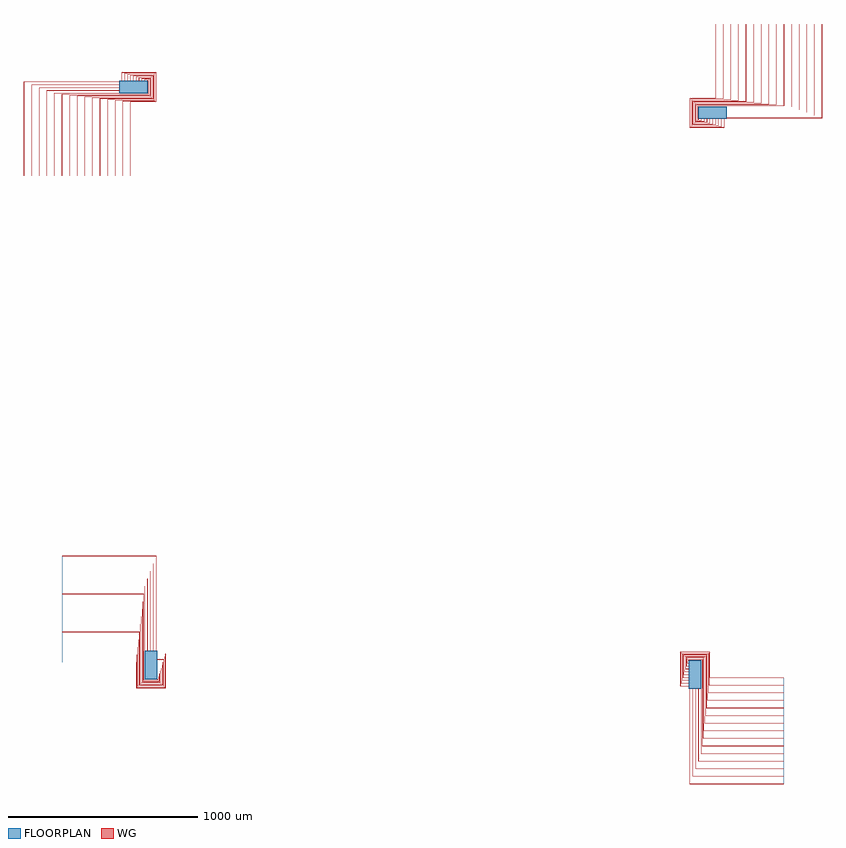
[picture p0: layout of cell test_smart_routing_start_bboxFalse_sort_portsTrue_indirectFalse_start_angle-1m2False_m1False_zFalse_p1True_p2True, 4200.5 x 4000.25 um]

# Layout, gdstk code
import gdstk
lib = gdstk.Library(unit=1e-6, precision=1e-09)
def R(c, l, rs):  # rectangles x0, y0, x1, y1
    for r in rs: c.add(gdstk.rectangle(r[:2], r[2:], *l))
def P(c, l, *ps):  # polygons
    for p in ps: c.add(gdstk.Polygon(p, *l))
WG = (1, 0)
FLOORPLAN = (10, 0)

test_smart_routing_start = lib.new_cell('test_smart_routing_start_bboxFalse_sort_portsTrue_indirectFalse_start_angle-1m2False_m1False_zFalse_p1True_p2True')
P(test_smart_routing_start, WG, [(3100,2905.05),(3100,2905.25),(3599.75,2905.25),(3599.75,3400),(3599.95,3400),(3599.95,2905.05)],
  [(3100,2904.75),(3100,2904.95),(3600.05,2904.95),(3600.05,3400),(3600.25,3400),(3600.25,2904.75)],
  [(3100,2920.05),(3100,2920.25),(3559.75,2920.25),(3559.75,3400),(3559.95,3400),(3559.95,2920.05)],
  [(3100,2919.75),(3100,2919.95),(3560.05,2919.95),(3560.05,3400),(3560.25,3400),(3560.25,2919.75)],
  [(3100,2935.05),(3100,2935.25),(3519.75,2935.25),(3519.75,3400),(3519.95,3400),(3519.95,2935.05)],
  [(3100,2934.75),(3100,2934.95),(3520.05,2934.95),(3520.05,3400),(3520.25,3400),(3520.25,2934.75)],
  [(3100,2950.05),(3100,2950.25),(3479.75,2950.25),(3479.75,3400),(3479.95,3400),(3479.95,2950.05)],
  [(3100,2949.75),(3100,2949.95),(3480.05,2949.95),(3480.05,3400),(3480.25,3400),(3480.25,2949.75)],
  [(3100,2965.05),(3100,2965.25),(3439.75,2965.25),(3439.75,3400),(3439.95,3400),(3439.95,2965.05)],
  [(3100,2964.75),(3100,2964.95),(3440.05,2964.95),(3440.05,3400),(3440.25,3400),(3440.25,2964.75)],
  [(2945.25,2895.5),(2945.25,2969.75),(3399.75,2969.75),(3399.75,3400),(3399.95,3400),(3399.95,2969.55),(2945.45,2969.55),(2945.45,2895.7),(2950.05,2895.7),(2950.05,2900),(2950.25,2900),(2950.25,2895.5)],
  [(2945.55,2895.8),(2945.55,2969.45),(3400.05,2969.45),(3400.05,3400),(3400.25,3400),(3400.25,2969.25),(2945.75,2969.25),(2945.75,2896),(2949.75,2896),(2949.75,2900),(2949.95,2900),(2949.95,2895.8)],
  [(2940.75,2891),(2940.75,2974.25),(3359.75,2974.25),(3359.75,3400),(3359.95,3400),(3359.95,2974.05),(2940.95,2974.05),(2940.95,2891.2),(2965.05,2891.2),(2965.05,2900),(2965.25,2900),(2965.25,2891)],
  [(2941.05,2891.3),(2941.05,2973.95),(3360.05,2973.95),(3360.05,3400),(3360.25,3400),(3360.25,2973.75),(2941.25,2973.75),(2941.25,2891.5),(2964.75,2891.5),(2964.75,2900),(2964.95,2900),(2964.95,2891.3)],
  [(2936.25,2886.5),(2936.25,2978.75),(3319.75,2978.75),(3319.75,3400),(3319.95,3400),(3319.95,2978.55),(2936.45,2978.55),(2936.45,2886.7),(2980.05,2886.7),(2980.05,2900),(2980.25,2900),(2980.25,2886.5)],
  [(2936.55,2886.8),(2936.55,2978.45),(3320.05,2978.45),(3320.05,3400),(3320.25,3400),(3320.25,2978.25),(2936.75,2978.25),(2936.75,2887),(2979.75,2887),(2979.75,2900),(2979.95,2900),(2979.95,2886.8)],
  [(2931.75,2882),(2931.75,2983.25),(3279.75,2983.25),(3279.75,3400),(3279.95,3400),(3279.95,2983.05),(2931.95,2983.05),(2931.95,2882.2),(2995.05,2882.2),(2995.05,2900),(2995.25,2900),(2995.25,2882)],
  [(2932.05,2882.3),(2932.05,2982.95),(3280.05,2982.95),(3280.05,3400),(3280.25,3400),(3280.25,2982.75),(2932.25,2982.75),(2932.25,2882.5),(2994.75,2882.5),(2994.75,2900),(2994.95,2900),(2994.95,2882.3)],
  [(2927.25,2877.5),(2927.25,2987.75),(3239.75,2987.75),(3239.75,3400),(3239.95,3400),(3239.95,2987.55),(2927.45,2987.55),(2927.45,2877.7),(3010.05,2877.7),(3010.05,2900),(3010.25,2900),(3010.25,2877.5)],
  [(2927.55,2877.8),(2927.55,2987.45),(3240.05,2987.45),(3240.05,3400),(3240.25,3400),(3240.25,2987.25),(2927.75,2987.25),(2927.75,2878),(3009.75,2878),(3009.75,2900),(3009.95,2900),(3009.95,2877.8)],
  [(2922.75,2873),(2922.75,2992.25),(3199.75,2992.25),(3199.75,3400),(3199.95,3400),(3199.95,2992.05),(2922.95,2992.05),(2922.95,2873.2),(3025.05,2873.2),(3025.05,2900),(3025.25,2900),(3025.25,2873)],
  [(2923.05,2873.3),(2923.05,2991.95),(3200.05,2991.95),(3200.05,3400),(3200.25,3400),(3200.25,2991.75),(2923.25,2991.75),(2923.25,2873.5),(3024.75,2873.5),(3024.75,2900),(3024.95,2900),(3024.95,2873.3)],
  [(2918.25,2868.5),(2918.25,2996.75),(3159.75,2996.75),(3159.75,3400),(3159.95,3400),(3159.95,2996.55),(2918.45,2996.55),(2918.45,2868.7),(3040.05,2868.7),(3040.05,2900),(3040.25,2900),(3040.25,2868.5)],
  [(2918.55,2868.8),(2918.55,2996.45),(3160.05,2996.45),(3160.05,3400),(3160.25,3400),(3160.25,2996.25),(2918.75,2996.25),(2918.75,2869),(3039.75,2869),(3039.75,2900),(3039.95,2900),(3039.95,2868.8)],
  [(2913.75,2864),(2913.75,3001.25),(3119.75,3001.25),(3119.75,3400),(3119.95,3400),(3119.95,3001.05),(2913.95,3001.05),(2913.95,2864.2),(3055.05,2864.2),(3055.05,2900),(3055.25,2900),(3055.25,2864)],
  [(2914.05,2864.3),(2914.05,3000.95),(3120.05,3000.95),(3120.05,3400),(3120.25,3400),(3120.25,3000.75),(2914.25,3000.75),(2914.25,2864.5),(3054.75,2864.5),(3054.75,2900),(3054.95,2900),(3054.95,2864.3)],
  [(2909.25,2859.5),(2909.25,3005.75),(3079.75,3005.75),(3079.75,3400),(3079.95,3400),(3079.95,3005.55),(2909.45,3005.55),(2909.45,2859.7),(3070.05,2859.7),(3070.05,2900),(3070.25,2900),(3070.25,2859.5)],
  [(2909.55,2859.8),(2909.55,3005.45),(3080.05,3005.45),(3080.05,3400),(3080.25,3400),(3080.25,3005.25),(2909.75,3005.25),(2909.75,2860),(3069.75,2860),(3069.75,2900),(3069.95,2900),(3069.95,2859.8)],
  [(2904.75,2855),(2904.75,3010.25),(3039.75,3010.25),(3039.75,3400),(3039.95,3400),(3039.95,3010.05),(2904.95,3010.05),(2904.95,2855.2),(3085.05,2855.2),(3085.05,2900),(3085.25,2900),(3085.25,2855)],
  [(2905.05,2855.3),(2905.05,3009.95),(3040.05,3009.95),(3040.05,3400),(3040.25,3400),(3040.25,3009.75),(2905.25,3009.75),(2905.25,2855.5),(3084.75,2855.5),(3084.75,2900),(3084.95,2900),(3084.95,2855.3)],
  [(-599.95,2600),(-599.95,3094.95),(-100,3094.95),(-100,3094.75),(-599.75,3094.75),(-599.75,2600)],
  [(-600.25,2600),(-600.25,3095.25),(-100,3095.25),(-100,3095.05),(-600.05,3095.05),(-600.05,2600)],
  [(-559.95,2600),(-559.95,3079.95),(-100,3079.95),(-100,3079.75),(-559.75,3079.75),(-559.75,2600)],
  [(-560.25,2600),(-560.25,3080.25),(-100,3080.25),(-100,3080.05),(-560.05,3080.05),(-560.05,2600)],
  [(-519.95,2600),(-519.95,3064.95),(-100,3064.95),(-100,3064.75),(-519.75,3064.75),(-519.75,2600)],
  [(-520.25,2600),(-520.25,3065.25),(-100,3065.25),(-100,3065.05),(-520.05,3065.05),(-520.05,2600)],
  [(-479.95,2600),(-479.95,3049.95),(-100,3049.95),(-100,3049.75),(-479.75,3049.75),(-479.75,2600)],
  [(-480.25,2600),(-480.25,3050.25),(-100,3050.25),(-100,3050.05),(-480.05,3050.05),(-480.05,2600)],
  [(-439.95,2600),(-439.95,3034.95),(-100,3034.95),(-100,3034.75),(-439.75,3034.75),(-439.75,2600)],
  [(-440.25,2600),(-440.25,3035.25),(-100,3035.25),(-100,3035.05),(-440.05,3035.05),(-440.05,2600)],
  [(-400.25,2600),(-400.25,3030.75),(54.25,3030.75),(54.25,3104),(50.25,3104),(50.25,3100),(50.05,3100),(50.05,3104.2),(54.45,3104.2),(54.45,3030.55),(-400.05,3030.55),(-400.05,2600)],
  [(-399.95,2600),(-399.95,3030.45),(54.55,3030.45),(54.55,3104.3),(49.95,3104.3),(49.95,3100),(49.75,3100),(49.75,3104.5),(54.75,3104.5),(54.75,3030.25),(-399.75,3030.25),(-399.75,2600)],
  [(-360.25,2600),(-360.25,3026.25),(58.75,3026.25),(58.75,3108.5),(35.25,3108.5),(35.25,3100),(35.05,3100),(35.05,3108.7),(58.95,3108.7),(58.95,3026.05),(-360.05,3026.05),(-360.05,2600)],
  [(-359.95,2600),(-359.95,3025.95),(59.05,3025.95),(59.05,3108.8),(34.95,3108.8),(34.95,3100),(34.75,3100),(34.75,3109),(59.25,3109),(59.25,3025.75),(-359.75,3025.75),(-359.75,2600)],
  [(-320.25,2600),(-320.25,3021.75),(63.25,3021.75),(63.25,3113),(20.25,3113),(20.25,3100),(20.05,3100),(20.05,3113.2),(63.45,3113.2),(63.45,3021.55),(-320.05,3021.55),(-320.05,2600)],
  [(-319.95,2600),(-319.95,3021.45),(63.55,3021.45),(63.55,3113.3),(19.95,3113.3),(19.95,3100),(19.75,3100),(19.75,3113.5),(63.75,3113.5),(63.75,3021.25),(-319.75,3021.25),(-319.75,2600)],
  [(-280.25,2600),(-280.25,3017.25),(67.75,3017.25),(67.75,3117.5),(5.25,3117.5),(5.25,3100),(5.05,3100),(5.05,3117.7),(67.95,3117.7),(67.95,3017.05),(-280.05,3017.05),(-280.05,2600)],
  [(-279.95,2600),(-279.95,3016.95),(68.05,3016.95),(68.05,3117.8),(4.95,3117.8),(4.95,3100),(4.75,3100),(4.75,3118),(68.25,3118),(68.25,3016.75),(-279.75,3016.75),(-279.75,2600)],
  [(-240.25,2600),(-240.25,3012.75),(72.25,3012.75),(72.25,3122),(-9.75,3122),(-9.75,3100),(-9.95,3100),(-9.95,3122.2),(72.45,3122.2),(72.45,3012.55),(-240.05,3012.55),(-240.05,2600)],
  [(-239.95,2600),(-239.95,3012.45),(72.55,3012.45),(72.55,3122.3),(-10.05,3122.3),(-10.05,3100),(-10.25,3100),(-10.25,3122.5),(72.75,3122.5),(72.75,3012.25),(-239.75,3012.25),(-239.75,2600)],
  [(-200.25,2600),(-200.25,3008.25),(76.75,3008.25),(76.75,3126.5),(-24.75,3126.5),(-24.75,3100),(-24.95,3100),(-24.95,3126.7),(76.95,3126.7),(76.95,3008.05),(-200.05,3008.05),(-200.05,2600)],
  [(-199.95,2600),(-199.95,3007.95),(77.05,3007.95),(77.05,3126.8),(-25.05,3126.8),(-25.05,3100),(-25.25,3100),(-25.25,3127),(77.25,3127),(77.25,3007.75),(-199.75,3007.75),(-199.75,2600)],
  [(-160.25,2600),(-160.25,3003.75),(81.25,3003.75),(81.25,3131),(-39.75,3131),(-39.75,3100),(-39.95,3100),(-39.95,3131.2),(81.45,3131.2),(81.45,3003.55),(-160.05,3003.55),(-160.05,2600)],
  [(-159.95,2600),(-159.95,3003.45),(81.55,3003.45),(81.55,3131.3),(-40.05,3131.3),(-40.05,3100),(-40.25,3100),(-40.25,3131.5),(81.75,3131.5),(81.75,3003.25),(-159.75,3003.25),(-159.75,2600)],
  [(-120.25,2600),(-120.25,2999.25),(85.75,2999.25),(85.75,3135.5),(-54.75,3135.5),(-54.75,3100),(-54.95,3100),(-54.95,3135.7),(85.95,3135.7),(85.95,2999.05),(-120.05,2999.05),(-120.05,2600)],
  [(-119.95,2600),(-119.95,2998.95),(86.05,2998.95),(86.05,3135.8),(-55.05,3135.8),(-55.05,3100),(-55.25,3100),(-55.25,3136),(86.25,3136),(86.25,2998.75),(-119.75,2998.75),(-119.75,2600)],
  [(-80.25,2600),(-80.25,2994.75),(90.25,2994.75),(90.25,3140),(-69.75,3140),(-69.75,3100),(-69.95,3100),(-69.95,3140.2),(90.45,3140.2),(90.45,2994.55),(-80.05,2994.55),(-80.05,2600)],
  [(-79.95,2600),(-79.95,2994.45),(90.55,2994.45),(90.55,3140.3),(-70.05,3140.3),(-70.05,3100),(-70.25,3100),(-70.25,3140.5),(90.75,3140.5),(90.75,2994.25),(-79.75,2994.25),(-79.75,2600)],
  [(-40.25,2600),(-40.25,2990.25),(94.75,2990.25),(94.75,3144.5),(-84.75,3144.5),(-84.75,3100),(-84.95,3100),(-84.95,3144.7),(94.95,3144.7),(94.95,2990.05),(-40.05,2990.05),(-40.05,2600)],
  [(-39.95,2600),(-39.95,2989.95),(95.05,2989.95),(95.05,3144.8),(-85.05,3144.8),(-85.05,3100),(-85.25,3100),(-85.25,3145),(95.25,3145),(95.25,2989.75),(-39.75,2989.75),(-39.75,2600)],
  [(94.75,100),(94.75,599.75),(-400,599.75),(-400,599.95),(94.95,599.95),(94.95,100)],
  [(95.05,100),(95.05,600.05),(-400,600.05),(-400,600.25),(95.25,600.25),(95.25,100)],
  [(79.75,100),(79.75,559.75),(-400,559.75),(-400,559.95),(79.95,559.95),(79.95,100)],
  [(80.05,100),(80.05,560.05),(-400,560.05),(-400,560.25),(80.25,560.25),(80.25,100)],
  [(64.75,100),(64.75,519.75),(-400,519.75),(-400,519.95),(64.95,519.95),(64.95,100)],
  [(65.05,100),(65.05,520.05),(-400,520.05),(-400,520.25),(65.25,520.25),(65.25,100)],
  [(49.75,100),(49.75,479.75),(-400,479.75),(-400,479.95),(49.95,479.95),(49.95,100)],
  [(50.05,100),(50.05,480.05),(-400,480.05),(-400,480.25),(50.25,480.25),(50.25,100)],
  [(34.75,100),(34.75,439.75),(-400,439.75),(-400,439.95),(34.95,439.95),(34.95,100)],
  [(35.05,100),(35.05,440.05),(-400,440.05),(-400,440.25),(35.25,440.25),(35.25,100)],
  [(30.25,-54.75),(30.25,399.75),(-400,399.75),(-400,399.95),(30.45,399.95),(30.45,-54.55),(104.3,-54.55),(104.3,-49.95),(100,-49.95),(100,-49.75),(104.5,-49.75),(104.5,-54.75)],
  [(30.55,-54.45),(30.55,400.05),(-400,400.05),(-400,400.25),(30.75,400.25),(30.75,-54.25),(104,-54.25),(104,-50.25),(100,-50.25),(100,-50.05),(104.2,-50.05),(104.2,-54.45)],
  [(25.75,-59.25),(25.75,359.75),(-400,359.75),(-400,359.95),(25.95,359.95),(25.95,-59.05),(108.8,-59.05),(108.8,-34.95),(100,-34.95),(100,-34.75),(109,-34.75),(109,-59.25)],
  [(26.05,-58.95),(26.05,360.05),(-400,360.05),(-400,360.25),(26.25,360.25),(26.25,-58.75),(108.5,-58.75),(108.5,-35.25),(100,-35.25),(100,-35.05),(108.7,-35.05),(108.7,-58.95)],
  [(21.25,-63.75),(21.25,319.75),(-400,319.75),(-400,319.95),(21.45,319.95),(21.45,-63.55),(113.3,-63.55),(113.3,-19.95),(100,-19.95),(100,-19.75),(113.5,-19.75),(113.5,-63.75)],
  [(21.55,-63.45),(21.55,320.05),(-400,320.05),(-400,320.25),(21.75,320.25),(21.75,-63.25),(113,-63.25),(113,-20.25),(100,-20.25),(100,-20.05),(113.2,-20.05),(113.2,-63.45)],
  [(16.75,-68.25),(16.75,279.75),(-400,279.75),(-400,279.95),(16.95,279.95),(16.95,-68.05),(117.8,-68.05),(117.8,-4.95),(100,-4.95),(100,-4.75),(118,-4.75),(118,-68.25)],
  [(17.05,-67.95),(17.05,280.05),(-400,280.05),(-400,280.25),(17.25,280.25),(17.25,-67.75),(117.5,-67.75),(117.5,-5.25),(100,-5.25),(100,-5.05),(117.7,-5.05),(117.7,-67.95)],
  [(12.25,-72.75),(12.25,239.75),(-400,239.75),(-400,239.95),(12.45,239.95),(12.45,-72.55),(122.3,-72.55),(122.3,10.05),(100,10.05),(100,10.25),(122.5,10.25),(122.5,-72.75)],
  [(12.55,-72.45),(12.55,240.05),(-400,240.05),(-400,240.25),(12.75,240.25),(12.75,-72.25),(122,-72.25),(122,9.75),(100,9.75),(100,9.95),(122.2,9.95),(122.2,-72.45)],
  [(7.75,-77.25),(7.75,199.75),(-400,199.75),(-400,199.95),(7.95,199.95),(7.95,-77.05),(126.8,-77.05),(126.8,25.05),(100,25.05),(100,25.25),(127,25.25),(127,-77.25)],
  [(8.05,-76.95),(8.05,200.05),(-400,200.05),(-400,200.25),(8.25,200.25),(8.25,-76.75),(126.5,-76.75),(126.5,24.75),(100,24.75),(100,24.95),(126.7,24.95),(126.7,-76.95)],
  [(3.25,-81.75),(3.25,159.75),(-400,159.75),(-400,159.95),(3.45,159.95),(3.45,-81.55),(131.3,-81.55),(131.3,40.05),(100,40.05),(100,40.25),(131.5,40.25),(131.5,-81.75)],
  [(3.55,-81.45),(3.55,160.05),(-400,160.05),(-400,160.25),(3.75,160.25),(3.75,-81.25),(131,-81.25),(131,39.75),(100,39.75),(100,39.95),(131.2,39.95),(131.2,-81.45)],
  [(-1.25,-86.25),(-1.25,119.75),(-400,119.75),(-400,119.95),(-1.05,119.95),(-1.05,-86.05),(135.8,-86.05),(135.8,55.05),(100,55.05),(100,55.25),(136,55.25),(136,-86.25)],
  [(-0.95,-85.95),(-0.95,120.05),(-400,120.05),(-400,120.25),(-0.75,120.25),(-0.75,-85.75),(135.5,-85.75),(135.5,54.75),(100,54.75),(100,54.95),(135.7,54.95),(135.7,-85.95)],
  [(-5.75,-90.75),(-5.75,79.75),(-400,79.75),(-400,79.95),(-5.55,79.95),(-5.55,-90.55),(140.3,-90.55),(140.3,70.05),(100,70.05),(100,70.25),(140.5,70.25),(140.5,-90.75)],
  [(-5.45,-90.45),(-5.45,80.05),(-400,80.05),(-400,80.25),(-5.25,80.25),(-5.25,-90.25),(140,-90.25),(140,69.75),(100,69.75),(100,69.95),(140.2,69.95),(140.2,-90.45)],
  [(-9.95,-94.95),(-9.95,40.05),(-400,40.05),(-400,40.25),(-9.75,40.25),(-9.75,-94.75),(144.5,-94.75),(144.5,84.75),(100,84.75),(100,84.95),(144.7,84.95),(144.7,-94.95)],
  [(-10.25,-95.25),(-10.25,39.75),(-400,39.75),(-400,39.95),(-10.05,39.95),(-10.05,-95.05),(144.8,-95.05),(144.8,85.05),(100,85.05),(100,85.25),(145,85.25),(145,-95.25)],
  [(2904.75,-600.25),(2904.75,-100),(2904.95,-100),(2904.95,-600.05),(3400,-600.05),(3400,-600.25)],
  [(2905.05,-599.95),(2905.05,-100),(2905.25,-100),(2905.25,-599.75),(3400,-599.75),(3400,-599.95)],
  [(2919.75,-560.25),(2919.75,-100),(2919.95,-100),(2919.95,-560.05),(3400,-560.05),(3400,-560.25)],
  [(2920.05,-559.95),(2920.05,-100),(2920.25,-100),(2920.25,-559.75),(3400,-559.75),(3400,-559.95)],
  [(2934.75,-520.25),(2934.75,-100),(2934.95,-100),(2934.95,-520.05),(3400,-520.05),(3400,-520.25)],
  [(2935.05,-519.95),(2935.05,-100),(2935.25,-100),(2935.25,-519.75),(3400,-519.75),(3400,-519.95)],
  [(2949.75,-480.25),(2949.75,-100),(2949.95,-100),(2949.95,-480.05),(3400,-480.05),(3400,-480.25)],
  [(2950.05,-479.95),(2950.05,-100),(2950.25,-100),(2950.25,-479.75),(3400,-479.75),(3400,-479.95)],
  [(2964.75,-440.25),(2964.75,-100),(2964.95,-100),(2964.95,-440.05),(3400,-440.05),(3400,-440.25)],
  [(2965.05,-439.95),(2965.05,-100),(2965.25,-100),(2965.25,-439.75),(3400,-439.75),(3400,-439.95)],
  [(2969.25,-400.25),(2969.25,54.25),(2896,54.25),(2896,50.25),(2900,50.25),(2900,50.05),(2895.8,50.05),(2895.8,54.45),(2969.45,54.45),(2969.45,-400.05),(3400,-400.05),(3400,-400.25)],
  [(2969.55,-399.95),(2969.55,54.55),(2895.7,54.55),(2895.7,49.95),(2900,49.95),(2900,49.75),(2895.5,49.75),(2895.5,54.75),(2969.75,54.75),(2969.75,-399.75),(3400,-399.75),(3400,-399.95)],
  [(2973.75,-360.25),(2973.75,58.75),(2891.5,58.75),(2891.5,35.25),(2900,35.25),(2900,35.05),(2891.3,35.05),(2891.3,58.95),(2973.95,58.95),(2973.95,-360.05),(3400,-360.05),(3400,-360.25)],
  [(2974.05,-359.95),(2974.05,59.05),(2891.2,59.05),(2891.2,34.95),(2900,34.95),(2900,34.75),(2891,34.75),(2891,59.25),(2974.25,59.25),(2974.25,-359.75),(3400,-359.75),(3400,-359.95)],
  [(2978.25,-320.25),(2978.25,63.25),(2887,63.25),(2887,20.25),(2900,20.25),(2900,20.05),(2886.8,20.05),(2886.8,63.45),(2978.45,63.45),(2978.45,-320.05),(3400,-320.05),(3400,-320.25)],
  [(2978.55,-319.95),(2978.55,63.55),(2886.7,63.55),(2886.7,19.95),(2900,19.95),(2900,19.75),(2886.5,19.75),(2886.5,63.75),(2978.75,63.75),(2978.75,-319.75),(3400,-319.75),(3400,-319.95)],
  [(2982.75,-280.25),(2982.75,67.75),(2882.5,67.75),(2882.5,5.25),(2900,5.25),(2900,5.05),(2882.3,5.05),(2882.3,67.95),(2982.95,67.95),(2982.95,-280.05),(3400,-280.05),(3400,-280.25)],
  [(2983.05,-279.95),(2983.05,68.05),(2882.2,68.05),(2882.2,4.95),(2900,4.95),(2900,4.75),(2882,4.75),(2882,68.25),(2983.25,68.25),(2983.25,-279.75),(3400,-279.75),(3400,-279.95)],
  [(2987.25,-240.25),(2987.25,72.25),(2878,72.25),(2878,-9.75),(2900,-9.75),(2900,-9.95),(2877.8,-9.95),(2877.8,72.45),(2987.45,72.45),(2987.45,-240.05),(3400,-240.05),(3400,-240.25)],
  [(2987.55,-239.95),(2987.55,72.55),(2877.7,72.55),(2877.7,-10.05),(2900,-10.05),(2900,-10.25),(2877.5,-10.25),(2877.5,72.75),(2987.75,72.75),(2987.75,-239.75),(3400,-239.75),(3400,-239.95)],
  [(2991.75,-200.25),(2991.75,76.75),(2873.5,76.75),(2873.5,-24.75),(2900,-24.75),(2900,-24.95),(2873.3,-24.95),(2873.3,76.95),(2991.95,76.95),(2991.95,-200.05),(3400,-200.05),(3400,-200.25)],
  [(2992.05,-199.95),(2992.05,77.05),(2873.2,77.05),(2873.2,-25.05),(2900,-25.05),(2900,-25.25),(2873,-25.25),(2873,77.25),(2992.25,77.25),(2992.25,-199.75),(3400,-199.75),(3400,-199.95)],
  [(2996.25,-160.25),(2996.25,81.25),(2869,81.25),(2869,-39.75),(2900,-39.75),(2900,-39.95),(2868.8,-39.95),(2868.8,81.45),(2996.45,81.45),(2996.45,-160.05),(3400,-160.05),(3400,-160.25)],
  [(2996.55,-159.95),(2996.55,81.55),(2868.7,81.55),(2868.7,-40.05),(2900,-40.05),(2900,-40.25),(2868.5,-40.25),(2868.5,81.75),(2996.75,81.75),(2996.75,-159.75),(3400,-159.75),(3400,-159.95)],
  [(3000.75,-120.25),(3000.75,85.75),(2864.5,85.75),(2864.5,-54.75),(2900,-54.75),(2900,-54.95),(2864.3,-54.95),(2864.3,85.95),(3000.95,85.95),(3000.95,-120.05),(3400,-120.05),(3400,-120.25)],
  [(3001.05,-119.95),(3001.05,86.05),(2864.2,86.05),(2864.2,-55.05),(2900,-55.05),(2900,-55.25),(2864,-55.25),(2864,86.25),(3001.25,86.25),(3001.25,-119.75),(3400,-119.75),(3400,-119.95)],
  [(3005.25,-80.25),(3005.25,90.25),(2860,90.25),(2860,-69.75),(2900,-69.75),(2900,-69.95),(2859.8,-69.95),(2859.8,90.45),(3005.45,90.45),(3005.45,-80.05),(3400,-80.05),(3400,-80.25)],
  [(3005.55,-79.95),(3005.55,90.55),(2859.7,90.55),(2859.7,-70.05),(2900,-70.05),(2900,-70.25),(2859.5,-70.25),(2859.5,90.75),(3005.75,90.75),(3005.75,-79.75),(3400,-79.75),(3400,-79.95)],
  [(2855.3,-84.95),(2855.3,94.95),(3009.95,94.95),(3009.95,-40.05),(3400,-40.05),(3400,-40.25),(3009.75,-40.25),(3009.75,94.75),(2855.5,94.75),(2855.5,-84.75),(2900,-84.75),(2900,-84.95)],
  [(2855,-85.25),(2855,95.25),(3010.25,95.25),(3010.25,-39.75),(3400,-39.75),(3400,-39.95),(3010.05,-39.95),(3010.05,95.05),(2855.2,95.05),(2855.2,-85.05),(2900,-85.05),(2900,-85.25)])
R(test_smart_routing_start, FLOORPLAN, [(2900,-100,2965,50), (35,-50,100,100), (2950,2900,3100,2965), (-100,3035,50,3100)])
P(test_smart_routing_start, FLOORPLAN, [(-400,40),(-400,600),(-400,600),(-400,40)],
  [(-600,2600),(-600,2600),(-40,2600),(-40,2600)],
  [(3400,-600),(3400,-40),(3400,-40),(3400,-600)],
  [(3040,3400),(3040,3400),(3600,3400),(3600,3400)])

lib.write_gds('test_smart_routing_start_bboxFalse_sort_portsTrue_indirectFalse_start_angle-1m2False_m1False_zFalse_p1True_p2True.gds')
